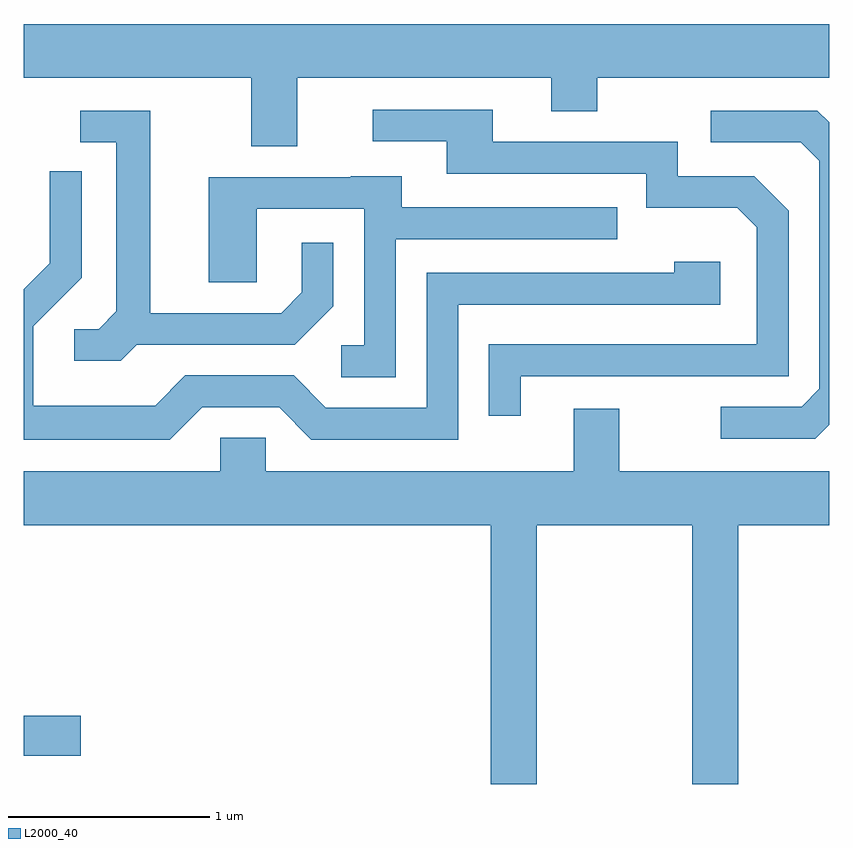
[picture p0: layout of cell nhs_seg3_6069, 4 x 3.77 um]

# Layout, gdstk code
import gdstk
lib = gdstk.Library(unit=1e-6, precision=1e-09)
def R(c, l, rs):  # rectangles x0, y0, x1, y1
    for r in rs: c.add(gdstk.rectangle(r[:2], r[2:], *l))
def P(c, l, *ps):  # polygons
    for p in ps: c.add(gdstk.Polygon(p, *l))
L2000_40 = (2000, 40)

nhs_seg3_6069 = lib.new_cell('nhs_seg3_6069')
R(nhs_seg3_6069, L2000_40, [(363.611,1158.171,363.894,1158.369)])
P(nhs_seg3_6069, L2000_40, [(364.969,1161.536),(366.231,1161.536),(366.231,1161.371),(366.459,1161.371),(366.459,1161.536),(367.611,1161.536),(367.611,1161.804),(363.611,1161.804),(363.611,1161.536),(364.741,1161.536),(364.741,1161.196),(364.969,1161.196)],
  [(366.079,1160.056),(367.409,1160.056),(367.409,1160.877),(367.237,1161.049),(366.859,1161.049),(366.859,1161.219),(365.939,1161.219),(365.939,1161.379),(365.343,1161.379),(365.343,1161.221),(365.711,1161.221),(365.711,1161.061),(366.701,1161.061),(366.701,1160.891),(367.154,1160.891),(367.251,1160.794),(367.251,1160.214),(365.921,1160.214),(365.921,1159.858),(366.079,1159.858)],
  [(367.611,1159.815),(367.611,1161.315),(367.552,1161.374),(367.023,1161.374),(367.023,1161.216),(367.469,1161.216),(367.561,1161.124),(367.561,1159.992),(367.474,1159.904),(367.073,1159.904),(367.073,1159.746),(367.542,1159.746)],
  [(364.172,1160.211),(364.957,1160.211),(365.149,1160.404),(365.149,1160.718),(364.991,1160.718),(364.991,1160.472),(364.889,1160.369),(364.239,1160.369),(364.239,1161.374),(363.893,1161.374),(363.893,1161.216),(364.071,1161.216),(364.071,1160.377),(363.984,1160.289),(363.863,1160.289),(363.863,1160.131),(364.092,1160.131)],
  [(364.497,1159.901),(364.879,1159.901),(365.039,1159.741),(365.769,1159.741),(365.769,1160.411),(367.069,1160.411),(367.069,1160.624),(366.841,1160.624),(366.841,1160.569),(365.611,1160.569),(365.611,1159.899),(365.112,1159.899),(364.952,1160.059),(364.414,1160.059),(364.264,1159.909),(363.659,1159.909),(363.659,1160.304),(363.899,1160.544),(363.899,1161.073),(363.741,1161.073),(363.741,1160.617),(363.611,1160.487),(363.611,1159.741),(364.337,1159.741)],
  [(365.459,1160.736),(366.558,1160.736),(366.558,1160.894),(365.489,1160.894),(365.489,1161.049),(365.235,1161.049),(365.235,1161.044),(364.531,1161.044),(364.531,1160.521),(364.769,1160.521),(364.769,1160.886),(365.301,1160.886),(365.301,1160.209),(365.188,1160.209),(365.188,1160.051),(365.459,1160.051)],
  [(366.159,1159.316),(366.931,1159.316),(366.931,1158.031),(367.159,1158.031),(367.159,1159.316),(367.611,1159.316),(367.611,1159.584),(366.569,1159.584),(366.569,1159.894),(366.341,1159.894),(366.341,1159.584),(364.814,1159.584),(364.814,1159.749),(364.586,1159.749),(364.586,1159.584),(363.611,1159.584),(363.611,1159.316),(365.931,1159.316),(365.931,1158.031),(366.159,1158.031)])

lib.write_gds('nhs_seg3_6069.gds')
